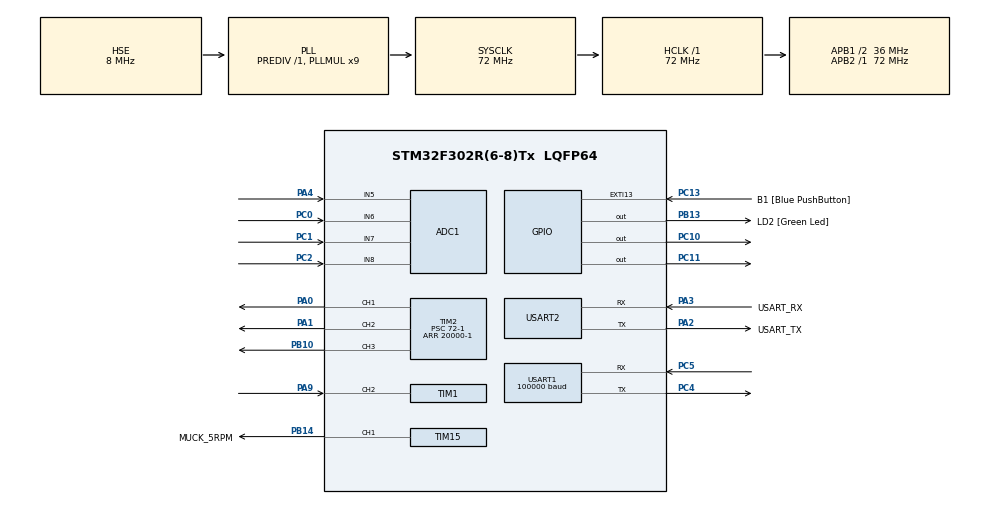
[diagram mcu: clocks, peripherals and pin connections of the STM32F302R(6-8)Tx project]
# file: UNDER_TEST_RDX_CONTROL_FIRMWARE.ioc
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ADC1.Channel-0\#ChannelRegularConversion=ADC_CHANNEL_5
ADC1.Channel-1\#ChannelRegularConversion=ADC_CHANNEL_6
ADC1.ClockPrescaler=ADC_CLOCK_SYNC_PCLK_DIV4
ADC1.InjNumberOfConversion=2
ADC1.InjectedChannel-2\#ChannelInjectedConversion=ADC_CHANNEL_7
ADC1.InjectedChannel-3\#ChannelInjectedConversion=ADC_CHANNEL_8
ADC1.InjectedOffset-2\#ChannelInjectedConversion=0
ADC1.InjectedOffset-3\#ChannelInjectedConversion=0
ADC1.InjectedOffsetNumber-2\#ChannelInjectedConversion=ADC_OFFSET_NONE
ADC1.InjectedOffsetNumber-3\#ChannelInjectedConversion=ADC_OFFSET_NONE
ADC1.InjectedRank-2\#ChannelInjectedConversion=1
ADC1.InjectedRank-3\#ChannelInjectedConversion=2
ADC1.InjectedSamplingTime-2\#ChannelInjectedConversion=ADC_SAMPLETIME_601CYCLES_5
ADC1.InjectedSamplingTime-3\#ChannelInjectedConversion=ADC_SAMPLETIME_601CYCLES_5
ADC1.InjectedSamplingTimeOPAMP-2\#ChannelInjectedConversion=ADC_SAMPLETIME_7CYCLES_5
ADC1.InjectedSamplingTimeOPAMP-3\#ChannelInjectedConversion=ADC_SAMPLETIME_7CYCLES_5
ADC1.NbrOfConversion=2
ADC1.NbrOfConversionFlag=1
ADC1.Offset-0\#ChannelRegularConversion=0
ADC1.Offset-1\#ChannelRegularConversion=0
ADC1.OffsetNumber-0\#ChannelRegularConversion=ADC_OFFSET_NONE
ADC1.OffsetNumber-1\#ChannelRegularConversion=ADC_OFFSET_NONE
ADC1.Rank-0\#ChannelRegularConversion=1
ADC1.Rank-1\#ChannelRegularConversion=2
ADC1.Rank1_Channel=ADC_CHANNEL_7
ADC1.Rank2_Channel=ADC_CHANNEL_8
ADC1.SamplingTime-0\#ChannelRegularConversion=ADC_SAMPLETIME_19CYCLES_5
ADC1.SamplingTime-1\#ChannelRegularConversion=ADC_SAMPLETIME_19CYCLES_5
ADC1.SamplingTimeOPAMP-1\#ChannelRegularConversion=ADC_SAMPLETIME_7CYCLES_5
ADC1.SubFamily=STM32F302x8
ADC1.master=1
Dma.Request0=USART1_RX
Dma.USART1_RX.0.Direction=DMA_PERIPH_TO_MEMORY
Dma.USART1_RX.0.Instance=DMA1_Channel5
Dma.USART1_RX.0.MemDataAlignment=DMA_MDATAALIGN_BYTE
Dma.USART1_RX.0.MemInc=DMA_MINC_ENABLE
Dma.USART1_RX.0.Mode=DMA_NORMAL
Dma.USART1_RX.0.PeriphDataAlignment=DMA_PDATAALIGN_BYTE
Dma.USART1_RX.0.PeriphInc=DMA_PINC_DISABLE
Dma.USART1_RX.0.Priority=DMA_PRIORITY_LOW
FREERTOS.Tasks01=defaultTask,24,128,StartDefaultTask,Default,NULL,Dynamic,NULL,NULL
FREERTOS.configTOTAL_HEAP_SIZE=5376
Mcu.Family=STM32F3
Mcu.Name=STM32F302R(6-8)Tx
Mcu.Package=LQFP64
NVIC.DMA1_Channel5_IRQn=true\:5\:0\:false\:false\:true\:true\:false\:true\:true
NVIC.PriorityGroup=NVIC_PRIORITYGROUP_4
NVIC.TIM1_CC_IRQn=true\:5\:0\:false\:false\:true\:true\:true\:true\:true
NVIC.TIM6_DAC_IRQn=true\:15\:0\:false\:false\:true\:false\:false\:true\:true
NVIC.TimeBase=TIM6_DAC_IRQn
NVIC.TimeBaseIP=TIM6
PA0.Signal=S_TIM2_CH1_ETR
PA1.Signal=S_TIM2_CH2
PA13.GPIO_Label=TMS
PA13.Mode=Serial_Wire
PA13.Signal=SYS_JTMS-SWDIO
PA14.GPIO_Label=TCK
PA14.Mode=Serial_Wire
PA14.Signal=SYS_JTCK-SWCLK
PA2.GPIO_Label=USART_TX
PA2.GPIO_Mode=GPIO_MODE_AF_PP
PA2.GPIO_PuPd=GPIO_NOPULL
PA2.GPIO_Speed=GPIO_SPEED_FREQ_LOW
PA2.Mode=Asynchronous
PA2.Signal=USART2_TX
PA3.GPIO_Label=USART_RX
PA3.GPIO_Mode=GPIO_MODE_AF_PP
PA3.GPIO_PuPd=GPIO_NOPULL
PA3.GPIO_Speed=GPIO_SPEED_FREQ_LOW
PA3.Mode=Asynchronous
PA3.Signal=USART2_RX
PA4.Mode=IN5-Single-Ended
PA4.Signal=ADC1_IN5
PA9.Signal=S_TIM1_CH2
PB10.Signal=S_TIM2_CH3
PB13.GPIO_Label=LD2 [Green Led]
PB13.Signal=GPIO_Output
PB14.GPIO_Label=MUCK_5RPM
PB14.Signal=S_TIM15_CH1
PB3.GPIO_Label=SWO
PB3.Mode=Trace_Asynchronous_SW
PB3.Signal=SYS_JTDO-TRACESWO
PC0.Signal=ADCx_IN6
PC1.Signal=ADCx_IN7
PC10.Signal=GPIO_Output
PC11.Signal=GPIO_Output
PC13.GPIO_Label=B1 [Blue PushButton]
PC13.GPIO_ModeDefaultEXTI=GPIO_MODE_IT_FALLING
PC13.Signal=GPXTI13
PC14\ -\ OSC32_IN.Mode=LSE-External-Oscillator
PC14\ -\ OSC32_IN.Signal=RCC_OSC32_IN
PC15\ -\ OSC32_OUT.Mode=LSE-External-Oscillator
PC15\ -\ OSC32_OUT.Signal=RCC_OSC32_OUT
PC2.Signal=ADCx_IN8
PC4.Mode=Asynchronous
PC4.Signal=USART1_TX
PC5.Mode=Asynchronous
PC5.Signal=USART1_RX
PF0-OSC_IN.Mode=HSE-External-Clock-Source
PF0-OSC_IN.Signal=RCC_OSC_IN
PF1-OSC_OUT.Signal=RCC_OSC_OUT
ProjectManager.HeapSize=0x200
ProjectManager.StackSize=0x400
ProjectManager.TargetToolchain=CMake
RCC.AHBFreq_Value=72000000
RCC.APB1CLKDivider=RCC_HCLK_DIV2
RCC.APB1Freq_Value=36000000
RCC.APB1TimFreq_Value=72000000
RCC.APB2Freq_Value=72000000
RCC.APB2TimFreq_Value=72000000
RCC.CortexFreq_Value=72000000
RCC.HCLKFreq_Value=72000000
RCC.HSE_VALUE=8000000
RCC.HSI_VALUE=8000000
RCC.PLLM=8
RCC.PLLMUL=RCC_PLL_MUL9
RCC.PLLN=336
RCC.PLLP=RCC_PLLP_DIV4
RCC.PLLQ=7
RCC.PLLSourceVirtual=RCC_PLLSOURCE_HSE
RCC.SYSCLKFreq_VALUE=72000000
RCC.SYSCLKSourceVirtual=RCC_SYSCLKSOURCE_PLLCLK
RCC.USBFreq_Value=72000000
SH.ADCx_IN6.0=ADC1_IN6,IN6-Single-Ended
SH.ADCx_IN7.0=ADC1_IN7,IN7-Single-Ended
SH.ADCx_IN8.0=ADC1_IN8,IN8-Single-Ended
SH.S_TIM15_CH1.0=TIM15_CH1,PWM Generation1 CH1
SH.S_TIM1_CH2.0=TIM1_CH2,Input_Capture2_from_TI2
SH.S_TIM2_CH1_ETR.0=TIM2_CH1,PWM Generation1 CH1
SH.S_TIM2_CH2.0=TIM2_CH2,PWM Generation2 CH2
SH.S_TIM2_CH3.0=TIM2_CH3,PWM Generation3 CH3
TIM1.Channel-Input_Capture2_from_TI2=TIM_CHANNEL_2
TIM1.ICFilter_CH2=8
TIM1.Prescaler=71
TIM15.AutoReloadPreload=TIM_AUTORELOAD_PRELOAD_DISABLE
TIM15.Channel-PWM\ Generation1\ CH1=TIM_CHANNEL_1
TIM15.Period=1499
TIM15.Prescaler=72-1
TIM15.Pulse-PWM\ Generation1\ CH1=750
TIM2.AutoReloadPreload=TIM_AUTORELOAD_PRELOAD_DISABLE
TIM2.Channel-PWM\ Generation1\ CH1=TIM_CHANNEL_1
TIM2.Channel-PWM\ Generation2\ CH2=TIM_CHANNEL_2
TIM2.Channel-PWM\ Generation3\ CH3=TIM_CHANNEL_3
TIM2.Period=20000-1
TIM2.Prescaler=72-1
USART1.BaudRate=100000
USART1.Parity=PARITY_EVEN
USART1.RxPinLevelInvertParam=ADVFEATURE_RXINV_ENABLE
USART1.StopBits=STOPBITS_2
USART1.VirtualMode-Asynchronous=VM_ASYNC
USART1.WordLength=WORDLENGTH_9B
USART2.VirtualMode-Asynchronous=VM_ASYNC
VP_FREERTOS_VS_CMSIS_V2.Mode=CMSIS_V2
VP_SYS_VS_tim6.Mode=TIM6
VP_TIM1_VS_ClockSourceINT.Mode=Internal
VP_TIM2_VS_ClockSourceINT.Mode=Internal
board=NUCLEO-F302R8

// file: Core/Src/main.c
/* USER CODE BEGIN Header */
/**
  ******************************************************************************
  * @file           : main.c
  * @brief          : Main program body
  ******************************************************************************
  * @attention
  *
  * Copyright (c) 2026 STMicroelectronics.
  * All rights reserved.
  *
  * This software is licensed under terms that can be found in the LICENSE file
  * in the root directory of this software component.
  * If no LICENSE file comes with this software, it is provided AS-IS.
  *
  ******************************************************************************
  */
/* USER CODE END Header */
#include "main.h"
#include "cmsis_os.h"
#include "adc.h"
#include "dma.h"
#include "stm32f3xx_hal_tim.h"
#include "tim.h"
#include "usart.h"
#include "gpio.h"

/* USER CODE BEGIN Includes */
#include "freertos.h"

#include "motor.h"
#include "sbus.h"
#include "task.h"
#include <stdint.h>
#include "cmsis_os2.h"
#include "stm32f3xx.h"

/* USER CODE END Includes */

/* USER CODE BEGIN PV */
MotorHandle_t motores[2];
sbus_Handle sbus;
uint16_t motor_array_size;

/* USER CODE END PV */

void SystemClock_Config(void);
void MX_FREERTOS_Init(void);
/* USER CODE BEGIN PFP */
void taskrfsbus(void *pvparameter);

/* USER CODE END PFP */

int main(void)
{

  /* MCU Configuration--------------------------------------------------------*/

  /* Reset of all peripherals, Initializes the Flash interface and the Systick. */
  HAL_Init();

  /* Configure the system clock */
  SystemClock_Config();

  /* Initialize all configured peripherals */
  MX_GPIO_Init();
  MX_DMA_Init();
  MX_ADC1_Init();
  MX_TIM1_Init();
  MX_TIM2_Init();
  MX_USART1_UART_Init();
  MX_USART2_UART_Init();
  MX_TIM15_Init();
  /* USER CODE BEGIN 2 */
 MotorConfig_t cfg_motores[2] = {
      [0] ={
              // m1 izq
              .type = MOTOR_TYPE_DRIVE,
              .pwm_tim = &htim2,
              .pwm_channel = TIM_CHANNEL_1,
              .dir_portA = GPIOC,
              .dir_portB = GPIOC,
              .dir_A = GPIO_PIN_10,
              .dir_B = GPIO_PIN_11,
              .enc_capture_tim = &htim1,
              .enc_captureA_channel = TIM_CHANNEL_2,
              .gear_ratio = 27,
              .enc_ppr = 16,
              .kp = 200,
              .ki = 0,
              .kd = 0,
              .max_pwm=19999,
              .min_pwm=0,
          },
      [1] ={
              // m1 izq

              .type = MOTOR_TYPE_DRIVE,
              .pwm_tim = &htim2,
              .pwm_channel = TIM_CHANNEL_2,
              .dir_portA = GPIOC,
              .dir_portB = GPIOC,
              .dir_A = GPIO_PIN_10,
              .dir_B = GPIO_PIN_11,
              .enc_capture_tim = &htim1,
              .enc_captureA_channel = TIM_CHANNEL_3,
              .gear_ratio = 27,
              .enc_ppr = 16,
              .kp = 200,
              .ki = 0,
              .kd = 0,
            .max_pwm = 19999,
            .min_pwm=0,
          },
  };

  motor_array_size = (sizeof(cfg_motores) / sizeof(MotorConfig_t));
  sbus = init_sbus(&huart1);
  HAL_UARTEx_ReceiveToIdle_DMA(&huart1, getBuffer(sbus), 25);
  __HAL_DMA_DISABLE_IT(huart1.hdmarx, DMA_IT_HT);
  for (uint8_t i = 0; i < motor_array_size; i++) {
    motores[i] = Motor_Init(&cfg_motores[i]);
  }
  HAL_TIM_PWM_Start(&htim15, TIM_CHANNEL_1);
  /* USER CODE END 2 */

  /* Init scheduler */
  osKernelInitialize();  /* Call init function for freertos objects (in cmsis_os2.c) */
  MX_FREERTOS_Init();

  /* Start scheduler */
  osKernelStart();

  /* We should never get here as control is now taken by the scheduler */

  /* Infinite loop */
  while (1)
  {

  }
}

void SystemClock_Config(void)
{
  RCC_OscInitTypeDef RCC_OscInitStruct = {0};
  RCC_ClkInitTypeDef RCC_ClkInitStruct = {0};
  RCC_PeriphCLKInitTypeDef PeriphClkInit = {0};

  /** Initializes the RCC Oscillators according to the specified parameters
  * in the RCC_OscInitTypeDef structure.
  */
  RCC_OscInitStruct.OscillatorType = RCC_OSCILLATORTYPE_HSE;
  RCC_OscInitStruct.HSEState = RCC_HSE_BYPASS;
  RCC_OscInitStruct.HSEPredivValue = RCC_HSE_PREDIV_DIV1;
  RCC_OscInitStruct.HSIState = RCC_HSI_ON;
  RCC_OscInitStruct.PLL.PLLState = RCC_PLL_ON;
  RCC_OscInitStruct.PLL.PLLSource = RCC_PLLSOURCE_HSE;
  RCC_OscInitStruct.PLL.PLLMUL = RCC_PLL_MUL9;
  if (HAL_RCC_OscConfig(&RCC_OscInitStruct) != HAL_OK)
  {
    Error_Handler();
  }

  /** Initializes the CPU, AHB and APB buses clocks
  */
  RCC_ClkInitStruct.ClockType = RCC_CLOCKTYPE_HCLK|RCC_CLOCKTYPE_SYSCLK
                              |RCC_CLOCKTYPE_PCLK1|RCC_CLOCKTYPE_PCLK2;
  RCC_ClkInitStruct.SYSCLKSource = RCC_SYSCLKSOURCE_PLLCLK;
  RCC_ClkInitStruct.AHBCLKDivider = RCC_SYSCLK_DIV1;
  RCC_ClkInitStruct.APB1CLKDivider = RCC_HCLK_DIV2;
  RCC_ClkInitStruct.APB2CLKDivider = RCC_HCLK_DIV1;

  if (HAL_RCC_ClockConfig(&RCC_ClkInitStruct, FLASH_LATENCY_2) != HAL_OK)
  {
    Error_Handler();
  }
  PeriphClkInit.PeriphClockSelection = RCC_PERIPHCLK_USART1|RCC_PERIPHCLK_TIM1
                              |RCC_PERIPHCLK_TIM15;
  PeriphClkInit.Usart1ClockSelection = RCC_USART1CLKSOURCE_PCLK1;
  PeriphClkInit.Tim1ClockSelection = RCC_TIM1CLK_HCLK;
  PeriphClkInit.Tim15ClockSelection = RCC_TIM15CLK_HCLK;
  if (HAL_RCCEx_PeriphCLKConfig(&PeriphClkInit) != HAL_OK)
  {
    Error_Handler();
  }
}

/* USER CODE BEGIN 4 */
// callback para timer con canales configurados como input capture direct
void HAL_TIM_IC_CaptureCallback(TIM_HandleTypeDef *htim) {
  for (uint8_t i = 0; i < motor_array_size; i++) {
    Motor_UpdateEncoder(motores[i], htim);
  }

}

// callback para sbustouart dma
void HAL_UARTEx_RxEventCallback(UART_HandleTypeDef *huart, uint16_t size) {
  if (sbusGetUartHandle(sbus) == huart->Instance) {
    uint8_t *buff = getBuffer(sbus);
    if (size == 25 && buff[0] == 0x0F && buff[24] == 0x00) { // Verificar byte de inicio y fin
      sbus_commit_data(sbus);
    }else {

    }
    HAL_UARTEx_ReceiveToIdle_DMA(huart, getBuffer(sbus), 25);
    __HAL_DMA_DISABLE_IT(huart->hdmarx, DMA_IT_HT);
  }
}

void HAL_UART_ErrorCallback(UART_HandleTypeDef *huart) {
  if (sbusGetUartHandle(sbus) == huart->Instance) {
    __HAL_UART_CLEAR_OREFLAG(huart);
    __HAL_UART_CLEAR_NEFLAG(huart);
    __HAL_UART_CLEAR_FEFLAG(huart);
    __HAL_UART_CLEAR_PEFLAG(huart);
    // Reiniciar la recepción en caso de error
    HAL_UARTEx_ReceiveToIdle_DMA(huart, getBuffer(sbus), 25);
    __HAL_DMA_DISABLE_IT(huart->hdmarx, DMA_IT_HT);
  }
}

/* USER CODE END 4 */

void HAL_TIM_PeriodElapsedCallback(TIM_HandleTypeDef *htim)
{
  if (htim->Instance == TIM6)
  {
    HAL_IncTick();
  }
}

void Error_Handler(void)
{
  __disable_irq();
  while (1)
  {
  }
}

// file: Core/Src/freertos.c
/* USER CODE BEGIN Header */
/**
  ******************************************************************************
  * File Name          : freertos.c
  * Description        : Code for freertos applications
  ******************************************************************************
  * @attention
  *
  * Copyright (c) 2026 STMicroelectronics.
  * All rights reserved.
  *
  * This software is licensed under terms that can be found in the LICENSE file
  * in the root directory of this software component.
  * If no LICENSE file comes with this software, it is provided AS-IS.
  *
  ******************************************************************************
  */
/* USER CODE END Header */

#include "FreeRTOS.h"
#include "task.h"
#include "main.h"
#include "cmsis_os.h"

/* USER CODE BEGIN Includes */
#include "motor.h"
#include "sbus.h"
/* USER CODE END Includes */

/* USER CODE BEGIN Variables */

extern MotorHandle_t motores[2];
extern sbus_Handle sbus;
extern uint16_t motor_array_size;
volatile uint16_t throttle = 0;
volatile uint16_t dir = 0;
volatile uint8_t task_heartbeat = 0;
volatile uint16_t giro = 0;

osThreadId_t xMotorTaskHandle = NULL;
const osThreadAttr_t xMotorTask_attributes = {
  .name = "MotorTask",
  .stack_size = 256 * 4,
  .priority = (osPriority_t) osPriorityHigh,
};
osThreadId_t xSbusTaskHandle = NULL;
const osThreadAttr_t xSbusTask_attributes = {
  .name = "SbusTask",
  .stack_size = 256 * 4,
  .priority = (osPriority_t) osPriorityAboveNormal,
};
osThreadId_t xTelemetryTaskHandle = NULL;
const osThreadAttr_t xTelemetryTask_attributes = {
  .name = "TelemetryTask",
  .stack_size = 128 * 4,
  .priority = (osPriority_t) osPriorityNormal,
};
osThreadId_t xRaspyComTaskHandle = NULL;
const osThreadAttr_t xRaspyComTask_attributes = {
  .name = "RaspyComTask",
  .stack_size = 128 * 4,
  .priority = (osPriority_t) osPriorityBelowNormal,
};
osThreadId_t xFNCompleteTaskHandle = NULL;
const osThreadAttr_t xFNCompleteTask_attributes = {
  .name = "FNCompleteTask",
  .stack_size = 128 * 4,
  .priority = (osPriority_t) osPriorityIdle,
};

/* USER CODE END Variables */
/* Definitions for defaultTask */
osThreadId_t defaultTaskHandle;
const osThreadAttr_t defaultTask_attributes = {
  .name = "defaultTask",
  .stack_size = 128 * 4,
  .priority = (osPriority_t) osPriorityNormal,
};

/* USER CODE BEGIN FunctionPrototypes */
void TaskMotorControl(void *pvParameters);
void TaskRFSbus(void *pvParameters);
void TaskTelemetria(void *pvParameters);
void TaskRaspyCom(void *pvParameters);
void TaskFNComplete(void *pvParameters);

/* USER CODE END FunctionPrototypes */

void StartDefaultTask(void *argument);

void MX_FREERTOS_Init(void); /* (MISRA C 2004 rule 8.1) */

void MX_FREERTOS_Init(void) {

  /* Create the thread(s) */
  /* creation of defaultTask */
  defaultTaskHandle = osThreadNew(StartDefaultTask, NULL, &defaultTask_attributes);

  /* USER CODE BEGIN RTOS_THREADS */

  xMotorTaskHandle = osThreadNew(TaskMotorControl, NULL, &xMotorTask_attributes);

  // 2. Tarea de Radiofrecuencia SBUS (Prioridad alta)
 xSbusTaskHandle = osThreadNew(TaskRFSbus, NULL, &xSbusTask_attributes);

  // 3. Tarea de Telemetría (Prioridad media)
  xTelemetryTaskHandle = osThreadNew(TaskTelemetria, NULL, &xTelemetryTask_attributes);

  // 4. Tarea de Comunicación con Raspberry (Prioridad media-baja)
  xRaspyComTaskHandle = osThreadNew(TaskRaspyCom, NULL, &xRaspyComTask_attributes);

  // 5. Tareas Completadas / Background (Prioridad mínima)
  xFNCompleteTaskHandle = osThreadNew(TaskFNComplete, NULL, &xFNCompleteTask_attributes);

  /* add threads, ... */
  /* USER CODE END RTOS_THREADS */

}

void StartDefaultTask(void *argument)
{
  for(;;)
  {
    osDelay(1);
  }
}

/* USER CODE BEGIN Application */
/********TAREAS BEGIN ***************** */

// ----------------------------------------------------------------------------
// TAREA 1: CONTROL DE MOTORES (Frecuencia: 5 ms)
// ----------------------------------------------------------------------------
void TaskMotorControl(void *Pvparameter) {

uint32_t tick = osKernelGetTickCount();
  for (;;) {

    for (uint8_t i = 0; i < motor_array_size; i++) {

      ControllerLoop(motores[i], 0.005f);
    }
    tick +=5U;
    osDelayUntil(tick);
  }
}

// ----------------------------------------------------------------------------
// TAREA 2: LECTURA SBUS Y COMANDOS (Frecuencia: 20 ms)
// ----------------------------------------------------------------------------
void TaskRFSbus(void *Pvparameter) {

  for (;;) {

    sbusParse(sbus);

    uint8_t is_forward =1;
    uint8_t parking = 0;
    if(getFailsafe(sbus)){
      throttle = 0;
      dir = 0;
      giro = 90; // Posición neutral para dirección
    }else{
      taskENTER_CRITICAL();
      uint16_t value = getAcc(sbus);
      uint16_t gvalue = getGiro(sbus);
      is_forward = getDir(sbus);
      parking = getparking(sbus);
      taskEXIT_CRITICAL();
      if(parking){
        throttle = 0;
        dir = 0;
        giro = 90; // Posición neutral para dirección
      }else{
      throttle = (value>1025)?0:value; // Limitar a 1024 para evitar valores negativos por overflow
      dir=is_forward;
      giro = (gvalue>181)?0:gvalue;
      }

    }

    for (uint8_t i = 0; i < motor_array_size; i++) {

      Motor_SetTargetSpeed(motores[i],(float)throttle); // Escalamos a porcentaje
      Motor_SetTargetPosition(motores[i], (float)giro); // Escalamos a grados
      Motor_SetDriveDirection(motores[i], is_forward);
    }
    osDelay(20U);
  }
}

// ----------------------------------------------------------------------------
// TAREA 3: TELEMETRÍA (Frecuencia: 500 ms)
// ----------------------------------------------------------------------------
void TaskTelemetria(void *Pvparameter) {

  for (;;) {

    osDelay(500U);
  }
}

// ----------------------------------------------------------------------------
// TAREA 4: COMUNICACIÓN RASPBERRY PI
// ----------------------------------------------------------------------------
void TaskRaspyCom(void *Pvparamter) {

  for(;;){

    osDelay(1000U);
  }
}

// ----------------------------------------------------------------------------
// TAREA 5: FUNCIONES COMPLETADAS
// ----------------------------------------------------------------------------
void TaskFNComplete(void *Pvparamter) {

  for(;;){
    osDelay(1000U);
  }
}
/************TAREAS END**************** */

/* USER CODE END Application */
